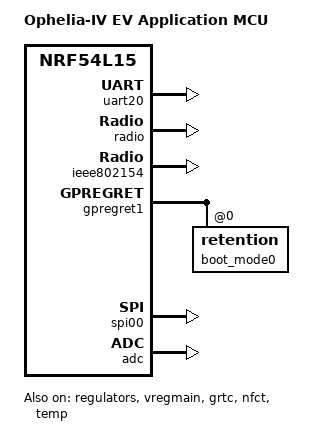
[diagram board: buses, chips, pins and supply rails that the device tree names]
/*
 * Copyright (c) 2025 Würth Elektronik eiSos GmbH & Co. KG
 *
 * SPDX-License-Identifier: Apache-2.0
 */

/dts-v1/;
#include <nordic/nrf54l15_cpuapp.dtsi>
#include "ophelia4ev_common.dtsi"

/ {
	model = "Ophelia-IV EV Application MCU";
	compatible = "we,ophelia4ev_nrf54l15-cpuapp";

	chosen {
		zephyr,console = &uart20;
		zephyr,shell-uart = &uart20;
		zephyr,uart-mcumgr = &uart20;
		zephyr,bt-mon-uart = &uart20;
		zephyr,bt-c2h-uart = &uart20;
		zephyr,flash-controller = &rram_controller;
		zephyr,flash = &cpuapp_rram;
		zephyr,ieee802154 = &ieee802154;
		zephyr,boot-mode = &boot_mode0;
		zephyr,code-partition = &slot0_partition;
		zephyr,sram = &cpuapp_sram;
	};

	aliases {
		mcuboot-button0 = &button0;
		mcuboot-led0 = &led0;
	};
};

&cpuapp_sram {
	status = "okay";
};

&lfxo {
	load-capacitors = "internal";
	load-capacitance-femtofarad = <17000>;
};

&hfxo {
	load-capacitors = "internal";
	load-capacitance-femtofarad = <15000>;
};

&regulators {
	status = "okay";
};

&vregmain {
	status = "okay";

	regulator-initial-mode = <NRF5X_REG_MODE_DCDC>;
};

&grtc {
	owned-channels = <0 1 2 3 4 5 6 7 8 9 10 11>;

	/* Channels 7-11 reserved for Zero Latency IRQs, 3-4 for FLPR */
	child-owned-channels = <3 4 7 8 9 10 11>;

	status = "okay";
};

&uart20 {
	status = "okay";
};

&nfct {
	status = "okay";
};

&gpio0 {
	status = "okay";
};

&gpio1 {
	status = "okay";
};

&gpio2 {
	status = "okay";
};

&gpiote20 {
	status = "okay";
};

&gpiote30 {
	status = "okay";
};

&radio {
	status = "okay";
};

&ieee802154 {
	status = "okay";
};

&temp {
	status = "okay";
};

&clock {
	status = "okay";
};

&gpregret1 {
	status = "okay";

	boot_mode0: boot_mode@0 {
		compatible = "zephyr,retention";
		status = "okay";
		reg = <0x0 0x1>;
	};
};

&spi00 {
	status = "okay";

	cs-gpios = <&gpio2 5 GPIO_ACTIVE_LOW>;
	pinctrl-0 = <&spi00_default>;
	pinctrl-1 = <&spi00_sleep>;
	pinctrl-names = "default", "sleep";
};

&adc {
	status = "okay";
};

/* Include default memory partition configuration file */
#include <vendor/nordic/nrf54l15_cpuapp_partition.dtsi>
